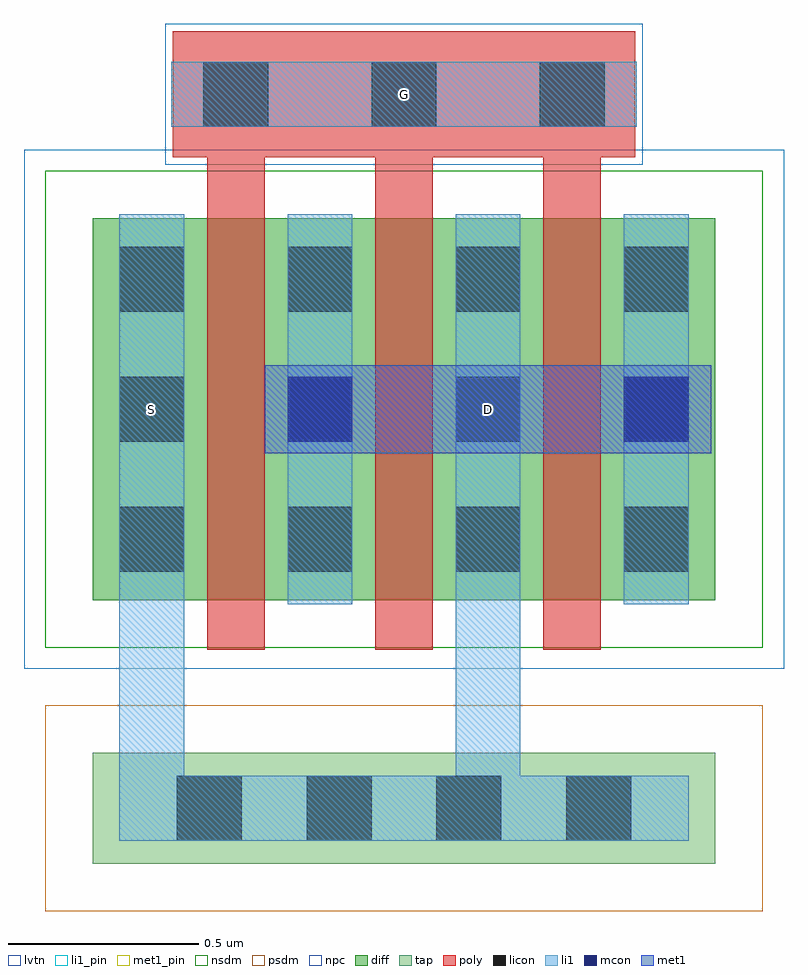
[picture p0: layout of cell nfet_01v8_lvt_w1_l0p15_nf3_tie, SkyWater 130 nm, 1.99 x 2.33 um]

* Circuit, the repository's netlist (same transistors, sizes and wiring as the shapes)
.SUBCKT nfet_01v8_lvt_w1_l0p15_nf3_tie D G S
M0 D G S S nfet_01v8_lvt w=1 l=0.15
M1 D G S S nfet_01v8_lvt w=1 l=0.15
M2 D G S S nfet_01v8_lvt w=1 l=0.15
.ENDS

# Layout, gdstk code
import gdstk
lib = gdstk.Library(unit=1e-6, precision=1e-09)
def R(c, l, rs):  # rectangles x0, y0, x1, y1
    for r in rs: c.add(gdstk.rectangle(r[:2], r[2:], *l))
def A(c, l, x, y, w, h, nx, ny, dx, dy):  # array of equal rectangles
    R(c, l, [(x+i*dx, y+j*dy, x+i*dx+w, y+j*dy+h) for i in range(nx) for j in range(ny)])
diff = (65, 20)
tap = (65, 44)
poly = (66, 20)
licon = (66, 44)
li1_pin = (67, 16)
li1 = (67, 20)
mcon = (67, 44)
met1_pin = (68, 16)
met1 = (68, 20)
nsdm = (93, 44)
psdm = (94, 20)
npc = (95, 20)
lvtn = (125, 44)

nfet_01v8_lvt_w1_l0p15_n = lib.new_cell('nfet_01v8_lvt_w1_l0p15_nf3_tie')
R(nfet_01v8_lvt_w1_l0p15_n, diff, [(0,0,1.63,1)])
R(nfet_01v8_lvt_w1_l0p15_n, tap, [(0,-0.69,1.63,-0.4)])
A(nfet_01v8_lvt_w1_l0p15_n, poly, 0.3, -0.13, 0.15, 1.29, 3, 1, 0.44, 0)
R(nfet_01v8_lvt_w1_l0p15_n, poly, [(0.21,1.16,1.42,1.49)])
A(nfet_01v8_lvt_w1_l0p15_n, licon, 0.22, -0.63, 0.17, 0.17, 4, 1, 0.34, 0)
A(nfet_01v8_lvt_w1_l0p15_n, licon, 0.07, 0.075, 0.17, 0.17, 4, 3, 0.44, 0.34)
A(nfet_01v8_lvt_w1_l0p15_n, licon, 0.29, 1.24, 0.17, 0.17, 3, 1, 0.44, 0)
R(nfet_01v8_lvt_w1_l0p15_n, li1_pin, [(0.15,0.495,0.16,0.505), (0.81,1.32,0.82,1.33)])
R(nfet_01v8_lvt_w1_l0p15_n, li1, [(0.07,-0.63,1.56,-0.46), (0.07,-0.63,0.24,1.01), (0.95,-0.63,1.12,1.01), (0.51,-0.01,0.68,1.01), (1.39,-0.01,1.56,1.01), (0.205,1.24,1.425,1.41)])
R(nfet_01v8_lvt_w1_l0p15_n, mcon, [(0.51,0.415,0.68,0.585), (1.39,0.415,1.56,0.585)])
R(nfet_01v8_lvt_w1_l0p15_n, met1_pin, [(1.03,0.495,1.04,0.505)])
R(nfet_01v8_lvt_w1_l0p15_n, met1, [(0.45,0.385,1.62,0.615)])
R(nfet_01v8_lvt_w1_l0p15_n, nsdm, [(-0.125,-0.125,1.755,1.125)])
R(nfet_01v8_lvt_w1_l0p15_n, psdm, [(-0.125,-0.815,1.755,-0.275)])
R(nfet_01v8_lvt_w1_l0p15_n, npc, [(0.19,1.14,1.44,1.51)])
R(nfet_01v8_lvt_w1_l0p15_n, lvtn, [(-0.18,-0.18,1.81,1.18)])
nfet_01v8_lvt_w1_l0p15_n.add(gdstk.Label('G', (0.815,1.325), layer=67, texttype=5))
nfet_01v8_lvt_w1_l0p15_n.add(gdstk.Label('S', (0.155,0.5), layer=67, texttype=5))
nfet_01v8_lvt_w1_l0p15_n.add(gdstk.Label('D', (1.035,0.5), layer=68, texttype=5))

lib.write_gds('nfet_01v8_lvt_w1_l0p15_nf3_tie.gds')
